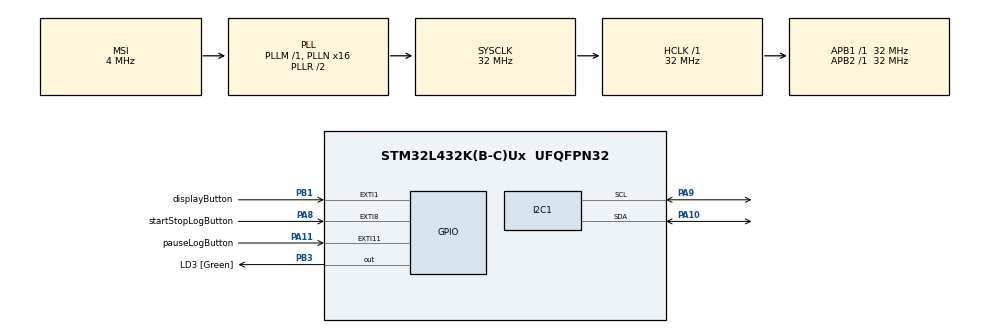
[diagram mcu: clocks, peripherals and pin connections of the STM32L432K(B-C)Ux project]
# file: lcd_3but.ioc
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I2C1.Timing=0x00707CBB
Mcu.Family=STM32L4
Mcu.Name=STM32L432K(B-C)Ux
Mcu.Package=UFQFPN32
NVIC.EXTI15_10_IRQn=true\:0\:0\:false\:false\:true\:true\:true\:true
NVIC.EXTI1_IRQn=true\:0\:0\:false\:false\:true\:true\:true\:true
NVIC.EXTI9_5_IRQn=true\:0\:0\:false\:false\:true\:true\:true\:true
NVIC.PriorityGroup=NVIC_PRIORITYGROUP_4
PA0.GPIO_Label=MCO [High speed clock in]
PA0.Signal=RCC_CK_IN
PA10.Mode=I2C
PA10.Signal=I2C1_SDA
PA11.GPIO_Label=pauseLogButton
PA11.Signal=GPXTI11
PA13\ (JTMS-SWDIO).GPIO_Label=SWDIO
PA13\ (JTMS-SWDIO).Signal=SYS_JTMS-SWDIO
PA14\ (JTCK-SWCLK).GPIO_Label=SWCLK
PA14\ (JTCK-SWCLK).Signal=SYS_JTCK-SWCLK
PA15\ (JTDI).GPIO_Label=VCP_RX
PA15\ (JTDI).Signal=USART2_RX
PA2.GPIO_Label=VCP_TX
PA2.Signal=USART2_TX
PA8.GPIO_Label=startStopLogButton
PA8.Signal=GPXTI8
PA9.Mode=I2C
PA9.Signal=I2C1_SCL
PB1.GPIO_Label=displayButton
PB1.Signal=GPXTI1
PB3\ (JTDO-TRACESWO).GPIO_Label=LD3 [Green]
PB3\ (JTDO-TRACESWO).Signal=GPIO_Output
PC14-OSC32_IN\ (PC14).Signal=RCC_OSC32_IN
PC15-OSC32_OUT\ (PC15).Signal=RCC_OSC32_OUT
ProjectManager.HeapSize=0x200
ProjectManager.StackSize=0x400
ProjectManager.TargetToolchain=STM32CubeIDE
RCC.AHBFreq_Value=32000000
RCC.APB1Freq_Value=32000000
RCC.APB1TimFreq_Value=32000000
RCC.APB2Freq_Value=32000000
RCC.APB2TimFreq_Value=32000000
RCC.CortexFreq_Value=32000000
RCC.HCLKFreq_Value=32000000
RCC.HSE_VALUE=8000000
RCC.HSI16_VALUE=16000000
RCC.HSI48_VALUE=48000000
RCC.HSI_VALUE=16000000
RCC.LSE_VALUE=32768
RCC.MSI_VALUE=4000000
RCC.PLLMUL=RCC_PLLMUL_4
RCC.PLLN=16
RCC.SYSCLKFreq_VALUE=32000000
RCC.SYSCLKSource=RCC_SYSCLKSOURCE_PLLCLK
RCC.VCOOutputFreq_Value=64000000
board=NUCLEO-L432KC

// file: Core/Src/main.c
/* USER CODE BEGIN Header */
/**
  ******************************************************************************
  * @file           : main.c
  * @brief          : Main program body
  ******************************************************************************
  * @attention
  *
  * Copyright (c) 2023 STMicroelectronics.
  * All rights reserved.
  *
  * This software is licensed under terms that can be found in the LICENSE file
  * in the root directory of this software component.
  * If no LICENSE file comes with this software, it is provided AS-IS.
  *
  ******************************************************************************
  */
/* USER CODE END Header */
#include "main.h"

/* USER CODE BEGIN Includes */
#include "liquidcrystal_i2c.h"
/* USER CODE END Includes */

I2C_HandleTypeDef hi2c1;

/* USER CODE BEGIN PV */
//typedef enum {
//	speed,
//	alt,
//	longest,
//	tallest,
//	startLog,
//	pauseLog,
//	stopLog,
//	save,
//	error
//} screenStates;
//volatile screenStates state;
volatile screenStates state = speed;
volatile uint8_t isLogging = 0;
volatile screenStates prevState;

/* USER CODE END PV */

void SystemClock_Config(void);
static void MX_GPIO_Init(void);
static void MX_I2C1_Init(void);

int main(void)
{

  /* MCU Configuration--------------------------------------------------------*/

  /* Reset of all peripherals, Initializes the Flash interface and the Systick. */
  HAL_Init();

  /* Configure the system clock */
  SystemClock_Config();

  /* Initialize all configured peripherals */
  MX_GPIO_Init();
  MX_I2C1_Init();
  /* USER CODE BEGIN 2 */

  /* Initialize */
    HD44780_Init(2);

    /* Clear buffer */
    HD44780_Clear();

    /* Hide characters */
    HD44780_NoDisplay();
    HD44780_Cursor();
    HD44780_SetCursor(0,0);
//    HD44780_PrintStr("HELLO STM32!!!");
//    HD44780_PrintSpecialChar(0);

    /* Show characters */
    HD44780_Display();

    /* Move position */
//    HD44780_SetCursor(1, 0);
//    HD44780_PrintStr("BYE STM32!!!");
//    HD44780_PrintSpecialChar(1);

    /* Blink cursor */
//    HD44780_Blink();
    HD44780_NoBlink();
    HD44780_NoCursor();

  /* USER CODE END 2 */

  /* Infinite loop */
  /* USER CODE BEGIN WHILE */
  while (1)
  {
	  printScreen(state, prevState);
    /* USER CODE END WHILE */

  }
}

void SystemClock_Config(void)
{
  RCC_OscInitTypeDef RCC_OscInitStruct = {0};
  RCC_ClkInitTypeDef RCC_ClkInitStruct = {0};

  /** Configure the main internal regulator output voltage
  */
  if (HAL_PWREx_ControlVoltageScaling(PWR_REGULATOR_VOLTAGE_SCALE1) != HAL_OK)
  {
    Error_Handler();
  }

  /** Initializes the RCC Oscillators according to the specified parameters
  * in the RCC_OscInitTypeDef structure.
  */
  RCC_OscInitStruct.OscillatorType = RCC_OSCILLATORTYPE_MSI;
  RCC_OscInitStruct.MSIState = RCC_MSI_ON;
  RCC_OscInitStruct.MSICalibrationValue = 0;
  RCC_OscInitStruct.MSIClockRange = RCC_MSIRANGE_6;
  RCC_OscInitStruct.PLL.PLLState = RCC_PLL_ON;
  RCC_OscInitStruct.PLL.PLLSource = RCC_PLLSOURCE_MSI;
  RCC_OscInitStruct.PLL.PLLM = 1;
  RCC_OscInitStruct.PLL.PLLN = 16;
  RCC_OscInitStruct.PLL.PLLP = RCC_PLLP_DIV7;
  RCC_OscInitStruct.PLL.PLLQ = RCC_PLLQ_DIV2;
  RCC_OscInitStruct.PLL.PLLR = RCC_PLLR_DIV2;
  if (HAL_RCC_OscConfig(&RCC_OscInitStruct) != HAL_OK)
  {
    Error_Handler();
  }

  /** Initializes the CPU, AHB and APB buses clocks
  */
  RCC_ClkInitStruct.ClockType = RCC_CLOCKTYPE_HCLK|RCC_CLOCKTYPE_SYSCLK
                              |RCC_CLOCKTYPE_PCLK1|RCC_CLOCKTYPE_PCLK2;
  RCC_ClkInitStruct.SYSCLKSource = RCC_SYSCLKSOURCE_PLLCLK;
  RCC_ClkInitStruct.AHBCLKDivider = RCC_SYSCLK_DIV1;
  RCC_ClkInitStruct.APB1CLKDivider = RCC_HCLK_DIV1;
  RCC_ClkInitStruct.APB2CLKDivider = RCC_HCLK_DIV1;

  if (HAL_RCC_ClockConfig(&RCC_ClkInitStruct, FLASH_LATENCY_1) != HAL_OK)
  {
    Error_Handler();
  }
}

static void MX_I2C1_Init(void)
{

  hi2c1.Instance = I2C1;
  hi2c1.Init.Timing = 0x00707CBB;
  hi2c1.Init.OwnAddress1 = 0;
  hi2c1.Init.AddressingMode = I2C_ADDRESSINGMODE_7BIT;
  hi2c1.Init.DualAddressMode = I2C_DUALADDRESS_DISABLE;
  hi2c1.Init.OwnAddress2 = 0;
  hi2c1.Init.OwnAddress2Masks = I2C_OA2_NOMASK;
  hi2c1.Init.GeneralCallMode = I2C_GENERALCALL_DISABLE;
  hi2c1.Init.NoStretchMode = I2C_NOSTRETCH_DISABLE;
  if (HAL_I2C_Init(&hi2c1) != HAL_OK)
  {
    Error_Handler();
  }

  /** Configure Analogue filter
  */
  if (HAL_I2CEx_ConfigAnalogFilter(&hi2c1, I2C_ANALOGFILTER_ENABLE) != HAL_OK)
  {
    Error_Handler();
  }

  /** Configure Digital filter
  */
  if (HAL_I2CEx_ConfigDigitalFilter(&hi2c1, 0) != HAL_OK)
  {
    Error_Handler();
  }

}

static void MX_GPIO_Init(void)
{
  GPIO_InitTypeDef GPIO_InitStruct = {0};

  /* GPIO Ports Clock Enable */
  __HAL_RCC_GPIOC_CLK_ENABLE();
  __HAL_RCC_GPIOA_CLK_ENABLE();
  __HAL_RCC_GPIOB_CLK_ENABLE();

  /*Configure GPIO pin Output Level */
  HAL_GPIO_WritePin(LD3_GPIO_Port, LD3_Pin, GPIO_PIN_RESET);

  /*Configure GPIO pin : VCP_TX_Pin */
  GPIO_InitStruct.Pin = VCP_TX_Pin;
  GPIO_InitStruct.Mode = GPIO_MODE_AF_PP;
  GPIO_InitStruct.Pull = GPIO_NOPULL;
  GPIO_InitStruct.Speed = GPIO_SPEED_FREQ_VERY_HIGH;
  GPIO_InitStruct.Alternate = GPIO_AF7_USART2;
  HAL_GPIO_Init(VCP_TX_GPIO_Port, &GPIO_InitStruct);

  /*Configure GPIO pin : displayButton_Pin */
  GPIO_InitStruct.Pin = displayButton_Pin;
  GPIO_InitStruct.Mode = GPIO_MODE_IT_RISING;
  GPIO_InitStruct.Pull = GPIO_NOPULL;
  HAL_GPIO_Init(displayButton_GPIO_Port, &GPIO_InitStruct);

  /*Configure GPIO pins : startStopLogButton_Pin pauseLogButton_Pin */
  GPIO_InitStruct.Pin = startStopLogButton_Pin|pauseLogButton_Pin;
  GPIO_InitStruct.Mode = GPIO_MODE_IT_RISING;
  GPIO_InitStruct.Pull = GPIO_NOPULL;
  HAL_GPIO_Init(GPIOA, &GPIO_InitStruct);

  /*Configure GPIO pin : VCP_RX_Pin */
  GPIO_InitStruct.Pin = VCP_RX_Pin;
  GPIO_InitStruct.Mode = GPIO_MODE_AF_PP;
  GPIO_InitStruct.Pull = GPIO_NOPULL;
  GPIO_InitStruct.Speed = GPIO_SPEED_FREQ_VERY_HIGH;
  GPIO_InitStruct.Alternate = GPIO_AF3_USART2;
  HAL_GPIO_Init(VCP_RX_GPIO_Port, &GPIO_InitStruct);

  /*Configure GPIO pin : LD3_Pin */
  GPIO_InitStruct.Pin = LD3_Pin;
  GPIO_InitStruct.Mode = GPIO_MODE_OUTPUT_PP;
  GPIO_InitStruct.Pull = GPIO_NOPULL;
  GPIO_InitStruct.Speed = GPIO_SPEED_FREQ_LOW;
  HAL_GPIO_Init(LD3_GPIO_Port, &GPIO_InitStruct);

  /* EXTI interrupt init*/
  HAL_NVIC_SetPriority(EXTI1_IRQn, 0, 0);
  HAL_NVIC_EnableIRQ(EXTI1_IRQn);

  HAL_NVIC_SetPriority(EXTI9_5_IRQn, 0, 0);
  HAL_NVIC_EnableIRQ(EXTI9_5_IRQn);

  HAL_NVIC_SetPriority(EXTI15_10_IRQn, 0, 0);
  HAL_NVIC_EnableIRQ(EXTI15_10_IRQn);

}

/* USER CODE BEGIN 4 */
void printScreen(screenStates s, screenStates p) {
	HD44780_SetCursor(0, 0);
	switch(s) {
		case speed: {
			HD44780_PrintStr("Max Speed (m/s):");
			break; }
		case alt: {
			HD44780_PrintStr("Max Alt. (m):   ");
			break; }
		case longest: {
			HD44780_PrintStr("Longest Run (m):");
			break; }
		case tallest: {
			HD44780_PrintStr("Tallest Run (m):");
			break; }
		case startLog: {
			HD44780_PrintStr("Starting log:   ");
			break; }
		case stopLog: {
			HD44780_PrintStr("Stopping log:   ");
			break; }
		case pauseLog: {
			HD44780_PrintStr("Pausing log:    ");
			break; }
		case resumeLog: {
			HD44780_PrintStr("Resuming log:   ");
			break; }
		case save: {
			HD44780_PrintStr("Saving log:     ");
			break; }
		default: {
			HD44780_PrintStr("Error           ");
			break; }
	}
}
/* USER CODE END 4 */

void Error_Handler(void)
{
  __disable_irq();
  while (1)
  {
  }
}
